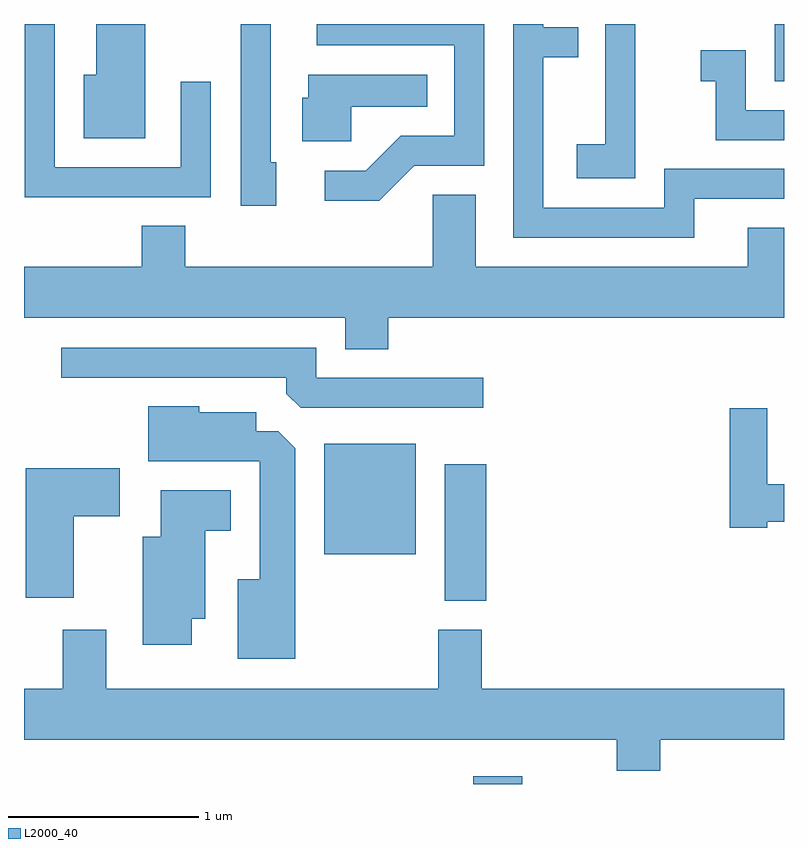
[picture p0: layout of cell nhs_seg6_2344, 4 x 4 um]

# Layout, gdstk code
import gdstk
lib = gdstk.Library(unit=1e-6, precision=1e-09)
def R(c, l, rs):  # rectangles x0, y0, x1, y1
    for r in rs: c.add(gdstk.rectangle(r[:2], r[2:], *l))
def P(c, l, *ps):  # polygons
    for p in ps: c.add(gdstk.Polygon(p, *l))
L2000_40 = (2000, 40)

nhs_seg6_2344 = lib.new_cell('nhs_seg6_2344')
R(nhs_seg6_2344, L2000_40, [(257.976,1634.162,258.234,1634.204), (257.826,1635.126,258.044,1635.844), (257.191,1635.371,257.674,1635.954), (259.561,1637.861,259.611,1638.162)])
P(nhs_seg6_2344, L2000_40, [(256.939,1637.434),(256.909,1637.434),(256.909,1638.162),(256.751,1638.162),(256.751,1637.206),(256.939,1637.206)],
  [(258.829,1638.162),(258.671,1638.162),(258.671,1637.529),(258.521,1637.529),(258.521,1637.351),(258.829,1637.351)],
  [(257.666,1637.416),(258.034,1637.416),(258.034,1638.162),(257.153,1638.162),(257.153,1638.051),(257.876,1638.051),(257.876,1637.574),(257.594,1637.574),(257.409,1637.389),(257.193,1637.389),(257.193,1637.231),(257.481,1637.231)],
  [(256.249,1638.162),(255.991,1638.162),(255.991,1637.894),(255.926,1637.894),(255.926,1637.561),(256.249,1637.561)],
  [(259.139,1637.241),(259.611,1637.241),(259.611,1637.399),(258.981,1637.399),(258.981,1637.194),(258.344,1637.194),(258.344,1637.986),(258.528,1637.986),(258.528,1638.144),(258.344,1638.144),(258.344,1638.162),(258.186,1638.162),(258.186,1637.036),(259.139,1637.036)],
  [(256.594,1637.858),(256.436,1637.858),(256.436,1637.409),(255.774,1637.409),(255.774,1638.162),(255.616,1638.162),(255.616,1637.251),(256.594,1637.251)],
  [(259.611,1637.709),(259.409,1637.709),(259.409,1638.024),(259.173,1638.024),(259.173,1637.861),(259.251,1637.861),(259.251,1637.551),(259.611,1637.551)],
  [(257.334,1637.726),(257.733,1637.726),(257.733,1637.894),(257.106,1637.894),(257.106,1637.774),(257.076,1637.774),(257.076,1637.546),(257.334,1637.546)],
  [(257.529,1636.616),(259.611,1636.616),(259.611,1637.089),(259.421,1637.089),(259.421,1636.884),(257.989,1636.884),(257.989,1637.264),(257.761,1637.264),(257.761,1636.884),(256.459,1636.884),(256.459,1637.099),(256.231,1637.099),(256.231,1636.884),(255.611,1636.884),(255.611,1636.616),(257.301,1636.616),(257.301,1636.451),(257.529,1636.451)],
  [(258.028,1636.299),(257.149,1636.299),(257.149,1636.459),(255.808,1636.459),(255.808,1636.301),(256.991,1636.301),(256.991,1636.217),(257.067,1636.141),(258.028,1636.141)],
  [(257.039,1635.929),(256.949,1636.019),(256.834,1636.019),(256.834,1636.119),(256.534,1636.119),(256.534,1636.149),(256.266,1636.149),(256.266,1635.861),(256.851,1635.861),(256.851,1635.239),(256.736,1635.239),(256.736,1634.821),(257.039,1634.821)],
  [(259.524,1635.541),(259.611,1635.541),(259.611,1635.739),(259.524,1635.739),(259.524,1636.139),(259.326,1636.139),(259.326,1635.511),(259.524,1635.511)],
  [(255.874,1635.571),(256.114,1635.571),(256.114,1635.824),(255.621,1635.824),(255.621,1635.141),(255.874,1635.141)],
  [(256.494,1635.031),(256.564,1635.031),(256.564,1635.496),(256.699,1635.496),(256.699,1635.709),(256.331,1635.709),(256.331,1635.464),(256.236,1635.464),(256.236,1634.896),(256.494,1634.896)],
  [(257.791,1634.974),(257.791,1634.664),(256.044,1634.664),(256.044,1634.974),(255.816,1634.974),(255.816,1634.664),(255.611,1634.664),(255.611,1634.396),(258.731,1634.396),(258.731,1634.231),(258.959,1634.231),(258.959,1634.396),(259.611,1634.396),(259.611,1634.664),(258.019,1634.664),(258.019,1634.974)])

lib.write_gds('nhs_seg6_2344.gds')
